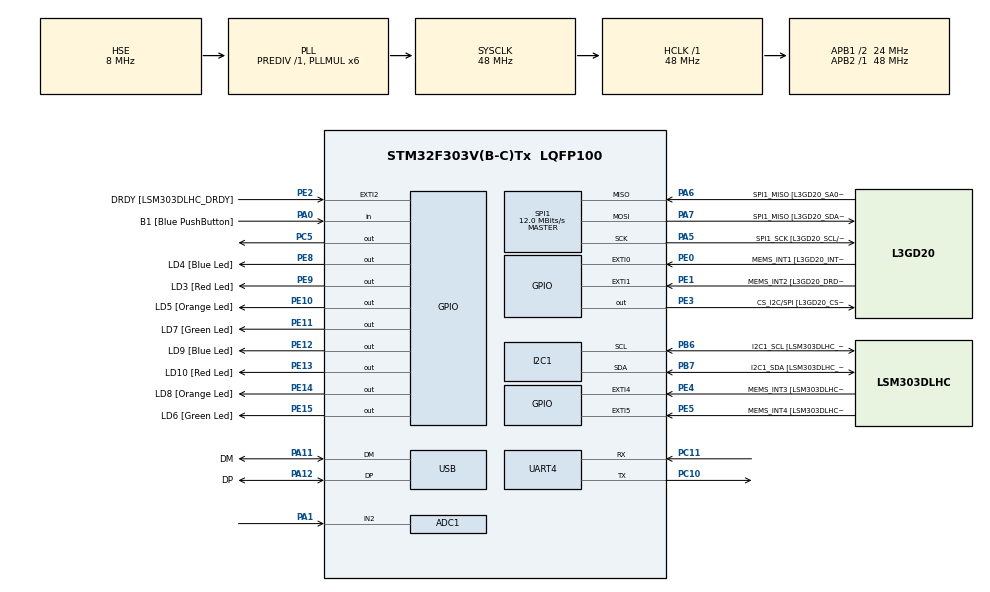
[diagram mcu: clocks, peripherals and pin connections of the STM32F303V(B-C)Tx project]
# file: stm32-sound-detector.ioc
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ADC1.Channel-0\#ChannelRegularConversion=ADC_CHANNEL_2
ADC1.NbrOfConversionFlag=1
ADC1.Offset-0\#ChannelRegularConversion=0
ADC1.OffsetNumber-0\#ChannelRegularConversion=ADC_OFFSET_NONE
ADC1.Rank-0\#ChannelRegularConversion=1
ADC1.SamplingTime-0\#ChannelRegularConversion=ADC_SAMPLETIME_19CYCLES_5
ADC1.SamplingTimeOPAMP-0\#ChannelRegularConversion=ADC_SAMPLETIME_19CYCLES_5
ADC1.master=1
I2C1.Timing-I2C=0x2000090E
Mcu.Family=STM32F3
Mcu.Name=STM32F303V(B-C)Tx
Mcu.Package=LQFP100
NVIC.PriorityGroup=NVIC_PRIORITYGROUP_0
PA0.GPIO_Label=B1 [Blue PushButton]
PA0.Signal=GPIO_Input
PA1.Mode=IN2-Single-Ended
PA1.Signal=ADC1_IN2
PA11.GPIO_Label=DM
PA11.Mode=Device
PA11.Signal=USB_DM
PA12.GPIO_Label=DP
PA12.Mode=Device
PA12.Signal=USB_DP
PA13.GPIO_Label=SWDIO
PA13.Mode=Serial_Wire
PA13.Signal=SYS_JTMS-SWDIO
PA14.GPIO_Label=SWCLK
PA14.Mode=Serial_Wire
PA14.Signal=SYS_JTCK-SWCLK
PA5.GPIO_Label=SPI1_SCK [L3GD20_SCL/SPC]
PA5.Mode=Full_Duplex_Master
PA5.Signal=SPI1_SCK
PA6.GPIO_Label=SPI1_MISO [L3GD20_SA0/SDO]
PA6.Mode=Full_Duplex_Master
PA6.Signal=SPI1_MISO
PA7.GPIO_Label=SPI1_MISO [L3GD20_SDA/SDI/SDO]
PA7.Mode=Full_Duplex_Master
PA7.Signal=SPI1_MOSI
PB3.GPIO_Label=SWO
PB3.Signal=SYS_JTDO-TRACESWO
PB6.GPIO_Label=I2C1_SCL [LSM303DLHC_SCL]
PB6.GPIO_Pu=GPIO_PULLUP
PB6.Mode=I2C
PB6.Signal=I2C1_SCL
PB7.GPIO_Label=I2C1_SDA [LSM303DLHC_SDA]
PB7.GPIO_Pu=GPIO_PULLUP
PB7.Mode=I2C
PB7.Signal=I2C1_SDA
PC10.Mode=Asynchronous
PC10.Signal=UART4_TX
PC11.Mode=Asynchronous
PC11.Signal=UART4_RX
PC14-OSC32_IN.GPIO_Label=OSC32_IN
PC14-OSC32_IN.Signal=RCC_OSC32_IN
PC15-OSC32_OUT.GPIO_Label=OSC32_OUT
PC15-OSC32_OUT.Signal=RCC_OSC32_OUT
PC5.GPIO_ModeDefaultOutputPP=GPIO_MODE_OUTPUT_OD
PC5.GPIO_PuPd=GPIO_NOPULL
PC5.GPIO_Speed=GPIO_SPEED_FREQ_HIGH
PC5.PinState=GPIO_PIN_SET
PC5.Signal=GPIO_Output
PE0.GPIO_Label=MEMS_INT1 [L3GD20_INT1]
PE0.GPIO_ModeDefaultEXTI=GPIO_MODE_EVT_RISING
PE0.Signal=GPXTI0
PE1.GPIO_Label=MEMS_INT2 [L3GD20_DRDY/INT2]
PE1.GPIO_ModeDefaultEXTI=GPIO_MODE_EVT_RISING
PE1.Signal=GPXTI1
PE10.GPIO_Label=LD5 [Orange Led]
PE10.Signal=GPIO_Output
PE11.GPIO_Label=LD7 [Green Led]
PE11.Signal=GPIO_Output
PE12.GPIO_Label=LD9 [Blue Led]
PE12.Signal=GPIO_Output
PE13.GPIO_Label=LD10 [Red Led]
PE13.Signal=GPIO_Output
PE14.GPIO_Label=LD8 [Orange Led]
PE14.Signal=GPIO_Output
PE15.GPIO_Label=LD6 [Green Led]
PE15.Signal=GPIO_Output
PE2.GPIO_Label=DRDY [LSM303DLHC_DRDY]
PE2.GPIO_ModeDefaultEXTI=GPIO_MODE_EVT_RISING
PE2.Signal=GPXTI2
PE3.GPIO_Label=CS_I2C/SPI [L3GD20_CS_I2C/SPI]
PE3.Signal=GPIO_Output
PE4.GPIO_Label=MEMS_INT3 [LSM303DLHC_INT1]
PE4.GPIO_ModeDefaultEXTI=GPIO_MODE_EVT_RISING
PE4.Signal=GPXTI4
PE5.GPIO_Label=MEMS_INT4 [LSM303DLHC_INT2]
PE5.GPIO_ModeDefaultEXTI=GPIO_MODE_EVT_RISING
PE5.Signal=GPXTI5
PE8.GPIO_Label=LD4 [Blue Led]
PE8.Signal=GPIO_Output
PE9.GPIO_Label=LD3 [Red Led]
PE9.Signal=GPIO_Output
PF0-OSC_IN.GPIO_Label=OSC_IN
PF0-OSC_IN.Mode=HSE-External-Clock-Source
PF0-OSC_IN.Signal=RCC_OSC_IN
PF1-OSC_OUT.GPIO_Label=OSC_OUT
PF1-OSC_OUT.Signal=RCC_OSC_OUT
ProjectManager.HeapSize=0x200
ProjectManager.StackSize=0x400
ProjectManager.TargetToolchain=STM32CubeIDE
RCC.AHBFreq_Value=48000000
RCC.APB1CLKDivider=RCC_HCLK_DIV2
RCC.APB1Freq_Value=24000000
RCC.APB1TimFreq_Value=48000000
RCC.APB2Freq_Value=48000000
RCC.APB2TimFreq_Value=48000000
RCC.CortexFreq_Value=48000000
RCC.HCLKFreq_Value=48000000
RCC.HSE_VALUE=8000000
RCC.HSI_VALUE=8000000
RCC.LSE_VALUE=32768
RCC.PLLMUL=RCC_PLL_MUL6
RCC.SYSCLKFreq_VALUE=48000000
RCC.SYSCLKSourceVirtual=RCC_SYSCLKSOURCE_PLLCLK
RCC.USBFreq_Value=48000000
SPI1.BaudRatePrescaler=SPI_BAUDRATEPRESCALER_4
SPI1.BaudRatePrescaler-Full_Duplex_Master=SPI_BAUDRATEPRESCALER_2
SPI1.CalculateBaudRate=12.0 MBits/s
SPI1.CalculateBaudRate-Full_Duplex_Master=24.0 MBits/s
SPI1.Direction=SPI_DIRECTION_2LINES
SPI1.Mode=SPI_MODE_MASTER
SPI1.Mode-Full_Duplex_Master=SPI_MODE_MASTER
SPI1.VirtualType=VM_MASTER
board=STM32F3DISCOVERY

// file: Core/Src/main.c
/* USER CODE BEGIN Header */
/**
  ******************************************************************************
  * @file           : main.c
  * @brief          : Main program body
  ******************************************************************************
  * @attention
  *
  * Copyright (c) 2023 STMicroelectronics.
  * All rights reserved.
  *
  * This software is licensed under terms that can be found in the LICENSE file
  * in the root directory of this software component.
  * If no LICENSE file comes with this software, it is provided AS-IS.
  *
  ******************************************************************************
  */
/* USER CODE END Header */
#include "main.h"

/* USER CODE BEGIN Includes */
#include <limits.h>
/* USER CODE END Includes */

/* USER CODE BEGIN PD */
#define FLOOR 420
#define CYCLE 10000
/* USER CODE END PD */

ADC_HandleTypeDef hadc1;

I2C_HandleTypeDef hi2c1;

SPI_HandleTypeDef hspi1;

UART_HandleTypeDef huart4;

PCD_HandleTypeDef hpcd_USB_FS;

/* USER CODE BEGIN PV */
uint16_t soundAmp = 0;
char msg[20];
/* USER CODE END PV */

void SystemClock_Config(void);
static void MX_GPIO_Init(void);
static void MX_I2C1_Init(void);
static void MX_SPI1_Init(void);
static void MX_USB_PCD_Init(void);
static void MX_ADC1_Init(void);
static void MX_UART4_Init(void);

int main(void)
{

  /* MCU Configuration--------------------------------------------------------*/

  /* Reset of all peripherals, Initializes the Flash interface and the Systick. */
  HAL_Init();

  /* Configure the system clock */
  SystemClock_Config();

  /* Initialize all configured peripherals */
  MX_GPIO_Init();
  MX_I2C1_Init();
  MX_SPI1_Init();
  MX_USB_PCD_Init();
  MX_ADC1_Init();
  MX_UART4_Init();
  /* USER CODE BEGIN 2 */
  signed int max = INT_MIN;
  signed int min = INT_MAX;
  int cycle_count = 0;
  char msg2[20] = "Pin toggled\r\n";
  int floor = 420;
  /* USER CODE END 2 */

  /* Infinite loop */
  while (1)
  {

    /* USER CODE BEGIN 3 */
	  cycle_count++;
	  if(cycle_count == CYCLE){
		  max = 0;
	  	  min = INT_MAX;
	  	  cycle_count = 0;
	  }

	HAL_ADC_Start(&hadc1);
	HAL_ADC_PollForConversion(&hadc1, 20);
	soundAmp = HAL_ADC_GetValue(&hadc1);
	if(soundAmp > max)
		max = soundAmp;
	if(soundAmp < min)
		min = soundAmp;
	  sprintf(msg, "MAX: %hu MIN: %hu\r\n",max - FLOOR, FLOOR - min);
	  HAL_UART_Transmit(&huart4, (uint8_t*) msg, strlen(msg), HAL_MAX_DELAY);
	  if(max - FLOOR > 500){
		  HAL_GPIO_TogglePin(GPIOC, GPIO_PIN_5);
		  HAL_UART_Transmit(&huart4, (uint8_t*) msg2, strlen(msg2), HAL_MAX_DELAY);
	  }
  }
  /* USER CODE END 3 */
}

void SystemClock_Config(void)
{
  RCC_OscInitTypeDef RCC_OscInitStruct = {0};
  RCC_ClkInitTypeDef RCC_ClkInitStruct = {0};
  RCC_PeriphCLKInitTypeDef PeriphClkInit = {0};

  /** Initializes the RCC Oscillators according to the specified parameters
  * in the RCC_OscInitTypeDef structure.
  */
  RCC_OscInitStruct.OscillatorType = RCC_OSCILLATORTYPE_HSI|RCC_OSCILLATORTYPE_HSE;
  RCC_OscInitStruct.HSEState = RCC_HSE_BYPASS;
  RCC_OscInitStruct.HSEPredivValue = RCC_HSE_PREDIV_DIV1;
  RCC_OscInitStruct.HSIState = RCC_HSI_ON;
  RCC_OscInitStruct.HSICalibrationValue = RCC_HSICALIBRATION_DEFAULT;
  RCC_OscInitStruct.PLL.PLLState = RCC_PLL_ON;
  RCC_OscInitStruct.PLL.PLLSource = RCC_PLLSOURCE_HSE;
  RCC_OscInitStruct.PLL.PLLMUL = RCC_PLL_MUL6;
  if (HAL_RCC_OscConfig(&RCC_OscInitStruct) != HAL_OK)
  {
    Error_Handler();
  }

  /** Initializes the CPU, AHB and APB buses clocks
  */
  RCC_ClkInitStruct.ClockType = RCC_CLOCKTYPE_HCLK|RCC_CLOCKTYPE_SYSCLK
                              |RCC_CLOCKTYPE_PCLK1|RCC_CLOCKTYPE_PCLK2;
  RCC_ClkInitStruct.SYSCLKSource = RCC_SYSCLKSOURCE_PLLCLK;
  RCC_ClkInitStruct.AHBCLKDivider = RCC_SYSCLK_DIV1;
  RCC_ClkInitStruct.APB1CLKDivider = RCC_HCLK_DIV2;
  RCC_ClkInitStruct.APB2CLKDivider = RCC_HCLK_DIV1;

  if (HAL_RCC_ClockConfig(&RCC_ClkInitStruct, FLASH_LATENCY_1) != HAL_OK)
  {
    Error_Handler();
  }
  PeriphClkInit.PeriphClockSelection = RCC_PERIPHCLK_USB|RCC_PERIPHCLK_UART4
                              |RCC_PERIPHCLK_I2C1|RCC_PERIPHCLK_ADC12;
  PeriphClkInit.Uart4ClockSelection = RCC_UART4CLKSOURCE_PCLK1;
  PeriphClkInit.Adc12ClockSelection = RCC_ADC12PLLCLK_DIV1;
  PeriphClkInit.I2c1ClockSelection = RCC_I2C1CLKSOURCE_HSI;
  PeriphClkInit.USBClockSelection = RCC_USBCLKSOURCE_PLL;
  if (HAL_RCCEx_PeriphCLKConfig(&PeriphClkInit) != HAL_OK)
  {
    Error_Handler();
  }
}

static void MX_ADC1_Init(void)
{

  ADC_MultiModeTypeDef multimode = {0};
  ADC_ChannelConfTypeDef sConfig = {0};

  /** Common config
  */
  hadc1.Instance = ADC1;
  hadc1.Init.ClockPrescaler = ADC_CLOCK_ASYNC_DIV1;
  hadc1.Init.Resolution = ADC_RESOLUTION_12B;
  hadc1.Init.ScanConvMode = ADC_SCAN_DISABLE;
  hadc1.Init.ContinuousConvMode = DISABLE;
  hadc1.Init.DiscontinuousConvMode = DISABLE;
  hadc1.Init.ExternalTrigConvEdge = ADC_EXTERNALTRIGCONVEDGE_NONE;
  hadc1.Init.ExternalTrigConv = ADC_SOFTWARE_START;
  hadc1.Init.DataAlign = ADC_DATAALIGN_RIGHT;
  hadc1.Init.NbrOfConversion = 1;
  hadc1.Init.DMAContinuousRequests = DISABLE;
  hadc1.Init.EOCSelection = ADC_EOC_SINGLE_CONV;
  hadc1.Init.LowPowerAutoWait = DISABLE;
  hadc1.Init.Overrun = ADC_OVR_DATA_OVERWRITTEN;
  if (HAL_ADC_Init(&hadc1) != HAL_OK)
  {
    Error_Handler();
  }

  /** Configure the ADC multi-mode
  */
  multimode.Mode = ADC_MODE_INDEPENDENT;
  if (HAL_ADCEx_MultiModeConfigChannel(&hadc1, &multimode) != HAL_OK)
  {
    Error_Handler();
  }

  /** Configure Regular Channel
  */
  sConfig.Channel = ADC_CHANNEL_2;
  sConfig.Rank = ADC_REGULAR_RANK_1;
  sConfig.SingleDiff = ADC_SINGLE_ENDED;
  sConfig.SamplingTime = ADC_SAMPLETIME_19CYCLES_5;
  sConfig.OffsetNumber = ADC_OFFSET_NONE;
  sConfig.Offset = 0;
  if (HAL_ADC_ConfigChannel(&hadc1, &sConfig) != HAL_OK)
  {
    Error_Handler();
  }

}

static void MX_I2C1_Init(void)
{

  hi2c1.Instance = I2C1;
  hi2c1.Init.Timing = 0x2000090E;
  hi2c1.Init.OwnAddress1 = 0;
  hi2c1.Init.AddressingMode = I2C_ADDRESSINGMODE_7BIT;
  hi2c1.Init.DualAddressMode = I2C_DUALADDRESS_DISABLE;
  hi2c1.Init.OwnAddress2 = 0;
  hi2c1.Init.OwnAddress2Masks = I2C_OA2_NOMASK;
  hi2c1.Init.GeneralCallMode = I2C_GENERALCALL_DISABLE;
  hi2c1.Init.NoStretchMode = I2C_NOSTRETCH_DISABLE;
  if (HAL_I2C_Init(&hi2c1) != HAL_OK)
  {
    Error_Handler();
  }

  /** Configure Analogue filter
  */
  if (HAL_I2CEx_ConfigAnalogFilter(&hi2c1, I2C_ANALOGFILTER_ENABLE) != HAL_OK)
  {
    Error_Handler();
  }

  /** Configure Digital filter
  */
  if (HAL_I2CEx_ConfigDigitalFilter(&hi2c1, 0) != HAL_OK)
  {
    Error_Handler();
  }

}

static void MX_SPI1_Init(void)
{

  /* SPI1 parameter configuration*/
  hspi1.Instance = SPI1;
  hspi1.Init.Mode = SPI_MODE_MASTER;
  hspi1.Init.Direction = SPI_DIRECTION_2LINES;
  hspi1.Init.DataSize = SPI_DATASIZE_4BIT;
  hspi1.Init.CLKPolarity = SPI_POLARITY_LOW;
  hspi1.Init.CLKPhase = SPI_PHASE_1EDGE;
  hspi1.Init.NSS = SPI_NSS_SOFT;
  hspi1.Init.BaudRatePrescaler = SPI_BAUDRATEPRESCALER_4;
  hspi1.Init.FirstBit = SPI_FIRSTBIT_MSB;
  hspi1.Init.TIMode = SPI_TIMODE_DISABLE;
  hspi1.Init.CRCCalculation = SPI_CRCCALCULATION_DISABLE;
  hspi1.Init.CRCPolynomial = 7;
  hspi1.Init.CRCLength = SPI_CRC_LENGTH_DATASIZE;
  hspi1.Init.NSSPMode = SPI_NSS_PULSE_ENABLE;
  if (HAL_SPI_Init(&hspi1) != HAL_OK)
  {
    Error_Handler();
  }

}

static void MX_UART4_Init(void)
{

  huart4.Instance = UART4;
  huart4.Init.BaudRate = 115200;
  huart4.Init.WordLength = UART_WORDLENGTH_8B;
  huart4.Init.StopBits = UART_STOPBITS_1;
  huart4.Init.Parity = UART_PARITY_NONE;
  huart4.Init.Mode = UART_MODE_TX_RX;
  huart4.Init.HwFlowCtl = UART_HWCONTROL_NONE;
  huart4.Init.OverSampling = UART_OVERSAMPLING_16;
  huart4.Init.OneBitSampling = UART_ONE_BIT_SAMPLE_DISABLE;
  huart4.AdvancedInit.AdvFeatureInit = UART_ADVFEATURE_NO_INIT;
  if (HAL_UART_Init(&huart4) != HAL_OK)
  {
    Error_Handler();
  }

}

static void MX_USB_PCD_Init(void)
{

  hpcd_USB_FS.Instance = USB;
  hpcd_USB_FS.Init.dev_endpoints = 8;
  hpcd_USB_FS.Init.speed = PCD_SPEED_FULL;
  hpcd_USB_FS.Init.phy_itface = PCD_PHY_EMBEDDED;
  hpcd_USB_FS.Init.low_power_enable = DISABLE;
  hpcd_USB_FS.Init.battery_charging_enable = DISABLE;
  if (HAL_PCD_Init(&hpcd_USB_FS) != HAL_OK)
  {
    Error_Handler();
  }

}

static void MX_GPIO_Init(void)
{
  GPIO_InitTypeDef GPIO_InitStruct = {0};

  /* GPIO Ports Clock Enable */
  __HAL_RCC_GPIOE_CLK_ENABLE();
  __HAL_RCC_GPIOC_CLK_ENABLE();
  __HAL_RCC_GPIOF_CLK_ENABLE();
  __HAL_RCC_GPIOA_CLK_ENABLE();
  __HAL_RCC_GPIOB_CLK_ENABLE();

  /*Configure GPIO pin Output Level */
  HAL_GPIO_WritePin(GPIOE, CS_I2C_SPI_Pin|LD4_Pin|LD3_Pin|LD5_Pin
                          |LD7_Pin|LD9_Pin|LD10_Pin|LD8_Pin
                          |LD6_Pin, GPIO_PIN_RESET);

  /*Configure GPIO pin Output Level */
  HAL_GPIO_WritePin(GPIOC, GPIO_PIN_5, GPIO_PIN_SET);

  /*Configure GPIO pins : DRDY_Pin MEMS_INT3_Pin MEMS_INT4_Pin MEMS_INT1_Pin
                           MEMS_INT2_Pin */
  GPIO_InitStruct.Pin = DRDY_Pin|MEMS_INT3_Pin|MEMS_INT4_Pin|MEMS_INT1_Pin
                          |MEMS_INT2_Pin;
  GPIO_InitStruct.Mode = GPIO_MODE_EVT_RISING;
  GPIO_InitStruct.Pull = GPIO_NOPULL;
  HAL_GPIO_Init(GPIOE, &GPIO_InitStruct);

  /*Configure GPIO pins : CS_I2C_SPI_Pin LD4_Pin LD3_Pin LD5_Pin
                           LD7_Pin LD9_Pin LD10_Pin LD8_Pin
                           LD6_Pin */
  GPIO_InitStruct.Pin = CS_I2C_SPI_Pin|LD4_Pin|LD3_Pin|LD5_Pin
                          |LD7_Pin|LD9_Pin|LD10_Pin|LD8_Pin
                          |LD6_Pin;
  GPIO_InitStruct.Mode = GPIO_MODE_OUTPUT_PP;
  GPIO_InitStruct.Pull = GPIO_NOPULL;
  GPIO_InitStruct.Speed = GPIO_SPEED_FREQ_LOW;
  HAL_GPIO_Init(GPIOE, &GPIO_InitStruct);

  /*Configure GPIO pin : B1_Pin */
  GPIO_InitStruct.Pin = B1_Pin;
  GPIO_InitStruct.Mode = GPIO_MODE_INPUT;
  GPIO_InitStruct.Pull = GPIO_NOPULL;
  HAL_GPIO_Init(B1_GPIO_Port, &GPIO_InitStruct);

  /*Configure GPIO pin : PC5 */
  GPIO_InitStruct.Pin = GPIO_PIN_5;
  GPIO_InitStruct.Mode = GPIO_MODE_OUTPUT_OD;
  GPIO_InitStruct.Pull = GPIO_NOPULL;
  GPIO_InitStruct.Speed = GPIO_SPEED_FREQ_HIGH;
  HAL_GPIO_Init(GPIOC, &GPIO_InitStruct);

}

void Error_Handler(void)
{
  __disable_irq();
  while (1)
  {
  }
}
